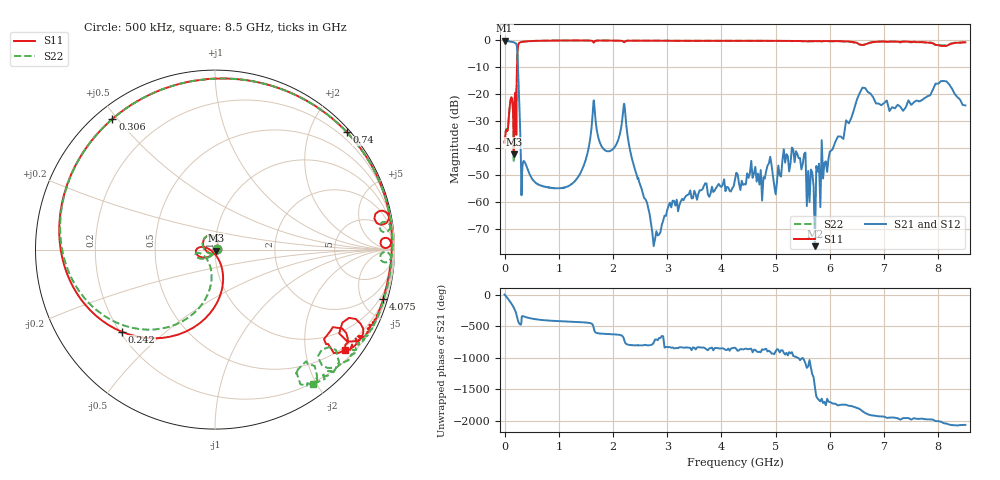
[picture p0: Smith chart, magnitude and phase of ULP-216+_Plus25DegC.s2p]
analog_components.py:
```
import numpy as np
import logging
from scipy.interpolate import interp1d
import os
from NuRadioReco.utilities import units
from functools import lru_cache
from radiotools import helper as hp
logger = logging.getLogger('NuRadioReco.analog_components')

@lru_cache(maxsize=128)
def load_amp_response(amp_type='rno_surface', temp=293.15,
                      path=os.path.dirname(os.path.realpath(__file__))):  # use this function to read in log data
    """
    Read out amplifier gain and phase.

    These are all 'placeholder' measurements of a single reference amplifier/signal chain;
    more up-to-date, channel-specific amplifier responses may be loaded via
    the :class:`rnog_detector <NuRadioReco.detector.RNO_G.rnog_detector.Detector>` class.
    
    Temperature dependence: the function loads a reference measurement made at room temperature
    and will correct it for the temperature. The correction function is obtained empirically for
    one amplifier of reference (one Surface board and one DRAB + fiber + IGLU chain)
    by studying its gain in a climate chamber at different temperatures.
    
    Parameters
    ----------
    amp_type: string
        * "rno_surface": the surface signal chain
        * "iglu": the in-ice signal chain
        * "phased_array": the additional filter of the phased array channels before going into the phased array trigger. 
        * "rno_surface_impulse": alternative measurement of the surface signal chain response, including the RADIANT
        * "deep_impulse": alternative measurement of the deep (iglu) signal chain response, including the RADIANT
    temp: float (default 293.15K)
        the default temperature in Kelvin that the amplifier response is corrected for
    """

    # definition correction functions: temp in Kelvin, freq in GHz
    # functions defined in temperature range [223.15 K , 323.15 K]

    def surface_correction_func(temp, freqs):
        return 1.0377798029 - 0.00135258197 * (temp - 273.15) + (0.4788208019 - 0.01790064797 * (temp - 273.15)) * (freqs ** 5)

    def iglu_correction_func(temp, freqs):
        return 1.1139014286 - 0.00004392995 * ((temp - 273.15) + 28.8331610295) ** 2 + (0.6301058083 - 0.0208741539 * (temp - 273.15)) * (freqs ** 5)

    amp_response = {}
    correction_function = None
    if amp_type == 'rno_surface':
        ph = os.path.join(path, 'HardwareResponses/surface_placeholder.csv')
        ff = np.loadtxt(ph, delimiter=',', skiprows=1, usecols=0)
        ff *= units.Hz
        amp_gain_discrete = np.loadtxt(ph, delimiter=',', skiprows=1, usecols=1)
        amp_phase_discrete = np.loadtxt(ph, delimiter=',', skiprows=1, usecols=2)
        correction_function = surface_correction_func
    elif amp_type == 'rno_surface_impulse':
        ph = os.path.join(path, 'HardwareResponses/surface_impulse_response_placeholder.csv')
        ff = np.loadtxt(ph, delimiter=',', skiprows=1, usecols=0)
        ff *= units.Hz
        amp_gain_discrete = np.loadtxt(ph, delimiter=',', skiprows=1, usecols=1)
        amp_phase_discrete = np.loadtxt(ph, delimiter=',', skiprows=1, usecols=2)
    elif amp_type == 'iglu':
        ph = os.path.join(path, 'HardwareResponses/iglu_drab_placeholder.csv')
        ff = np.loadtxt(ph, delimiter=',', skiprows=1, usecols=0)
        ff *= units.Hz
        amp_gain_discrete = np.loadtxt(ph, delimiter=',', skiprows=1, usecols=1)
        amp_phase_discrete = np.loadtxt(ph, delimiter=',', skiprows=1, usecols=2)
        correction_function = iglu_correction_func
    elif amp_type == 'deep_impulse':
        ph = os.path.join(path, 'HardwareResponses/deep_impulse_response_placeholder.csv')
        ff = np.loadtxt(ph, delimiter=',', skiprows=1, usecols=0)
        ff *= units.Hz
        amp_gain_discrete = np.loadtxt(ph, delimiter=',', skiprows=1, usecols=1)
        amp_phase_discrete = np.loadtxt(ph, delimiter=',', skiprows=1, usecols=2)
    elif amp_type == 'phased_array' or amp_type == 'ULP_216':
        ph = os.path.join(path, 'HardwareResponses/ULP-216+_Plus25DegC.s2p')
        ff, S11gain, S11deg, S21gain, S21deg, S12gain, S12deg, S22gain, S22deg = np.loadtxt(ph, comments=['#', '!'], unpack=True)
        ff *= units.MHz

        # Convert gain in dB power to linear in voltage
        amp_gain_discrete = 10**(S21gain / 20)
        amp_phase_discrete = S21deg * units.deg
    else:
        msg = f"Amp type `{amp_type}` not recognized. possible values are {get_available_amplifiers()}"
        logger.error(msg)
        raise ValueError(msg)

    amp_gain_f = interp1d(ff, amp_gain_discrete, bounds_error=False, fill_value=0)
    # all requests outside of measurement range are set to 1

    def get_amp_gain(freqs, temp=temp):
        if correction_function is not None:
            amp_gain = correction_function(temp, freqs) * amp_gain_f(freqs)
        else:
            amp_gain = amp_gain_f(freqs)
        
        return amp_gain

    # Convert to MHz and broaden range (all requests outside of measurement range are set to 0)
    amp_phase_f = interp1d(ff, np.unwrap(amp_phase_discrete),
                           bounds_error=False, fill_value=0)

    def get_amp_phase(freqs):
        amp_phase = amp_phase_f(freqs)
        return np.exp(1j * amp_phase)

    amp_response['gain'] = get_amp_gain
    amp_response['phase'] = get_amp_phase

    return amp_response


def get_available_amplifiers():
    """Returns a list of available amplifiers"""
    return ['iglu', 'deep_impulse', 'rno_surface', 'rno_surface_impulse', 'phased_array', 'ULP_216']
```
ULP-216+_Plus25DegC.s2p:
! Mini-Circuits
! S2P DATA File Format
! Type: LOW PASS FILTER
! Model: ULP-216+
! All S Parameters are in dB deg format
! TEST CONDITIONS: INPUT POWER = 0 dBm @ Temperature = +25deg C
# MHz S DB R 50
!Frequency  S11 dB  S11 DEG  S21 dB  S21 DEG  S12 dB  S12 DEG  S22 dB  S22 DEG
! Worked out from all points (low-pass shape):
!   1015 points, 500 kHz to 8.5 GHz, reference 50 ohm
!   highest |S21| = -0.16 dB at 1 MHz (marker M1); lowest = -76.5 dB at 5.725 GHz (marker M2)
!   |S21| within 3 dB of the highest: start of sweep to 231.1 MHz
!   lowest |S11| = -42.3 dB at 169 MHz (marker M3), VSWR 1.02, Z = 50.6 - j0.509 ohm
!   |S11| at or under -10 dB: start of sweep to 228.8 MHz
!   |S22| runs from -45.2 to -0.1 dB; largest |S21 - S12| = 0.0014
!   S11 on the Smith chart (normalised r, x): 500 kHz: 1.03, +0.00; 242 MHz: 0.21, -0.36; 306 MHz: 0.05, +0.49; 740 MHz: 0.06, +2.63; 4.075 GHz: 0.58, -6.85; 8.5 GHz: 0.42, -2.86
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0.5  -38.01 4.7  -0.16 -0.5  -0.16 -0.5  -37.33 3.6
1  -37.77 5.2  -0.16 -1.1  -0.16 -1.1  -37.55 3.6
169  -42.34 -41.1  -0.74 153.4  -0.74 153.4  -44.78 -50.2
242  -3.20 -138.5  -7.22 -39.6  -7.22 -39.6  -3.09 -146.2
306  -0.67 128.1  -49.94 -106.5  -49.96 -106.4  -0.66 125.7
740  -0.14 41.7  -54.33 -47.7  -54.34 -47.5  -0.14 40.3
1645  -0.87 10.9  -22.29 -173.4  -22.29 -173.4  -0.68 7.7
4075  -0.21 -16.5  -56.00 -155.9  -55.91 -155.9  -0.17 -22.4
4275  -0.21 -18.0  -49.18 -142.1  -49.19 -141.7  -0.18 -23.7
5725  -0.30 -26.6  -76.46 -30.5  -77.36 -32.2  -0.35 -34.2
8500  -0.78 -37.8  -24.19 95.8  -24.19 95.8  -0.65 -54.1
